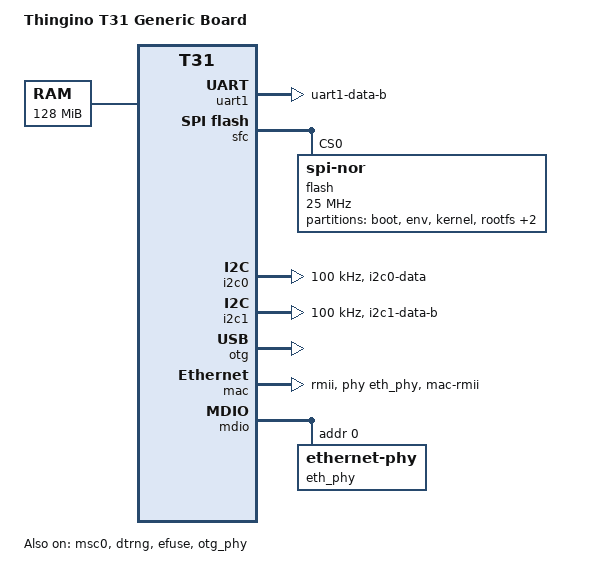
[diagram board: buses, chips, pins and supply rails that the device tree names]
// SPDX-License-Identifier: GPL-2.0
/dts-v1/;

#include "t31.dtsi"

/ {
	compatible = "thingino,t31", "ingenic,t31";
	model = "Thingino T31 Generic Board";

	aliases {
		serial1 = &uart1;
	};

	chosen {
		stdout-path = "serial1:115200n8";
	};

	memory@0 {
		device_type = "memory";
		reg = <0x0 0x8000000>;
	};
};

&exclk {
	clock-frequency = <24000000>;
};

&uart1 {
	status = "okay";

	pinctrl-names = "default";
	pinctrl-0 = <&pins_uart1>;
};

&sfc {
	status = "okay";

	flash@0 {
		compatible = "jedec,spi-nor";
		reg = <0>;
		spi-max-frequency = <25000000>;

		partitions {
			compatible = "fixed-partitions";
			#address-cells = <1>;
			#size-cells = <1>;

			partition@0 {
				label = "boot";
				reg = <0x0 0x40000>;
				read-only;
			};

			partition@40000 {
				label = "env";
				reg = <0x40000 0x10000>;
			};

			partition@50000 {
				label = "kernel";
				reg = <0x50000 0x200000>;
			};

			partition@250000 {
				label = "rootfs";
				reg = <0x250000 0x500000>;
			};

			partition@750000 {
				label = "rootfs_data";
				reg = <0x750000 0xb0000>;
			};

			partition@0_all {
				label = "all";
				reg = <0x0 0x1000000>;
			};
		};
	};
};

&msc0 {
	status = "okay";
	bus-width = <4>;
	max-frequency = <24000000>;

	pinctrl-names = "default";
	pinctrl-0 = <&pins_mmc0>;
};

&i2c0 {
	status = "okay";
	clock-frequency = <100000>;

	pinctrl-names = "default";
	pinctrl-0 = <&pins_i2c0>;
};

&i2c1 {
	status = "okay";
	clock-frequency = <100000>;

	pinctrl-names = "default";
	pinctrl-0 = <&pins_i2c1>;
};

&dtrng {
	status = "okay";
};

&efuse {
	status = "okay";
};

&otg_phy {
	status = "okay";
};

&otg {
	status = "okay";
	disable-over-current;
};

&mac {
	status = "okay";

	phy-mode = "rmii";
	phy-handle = <&eth_phy>;

	pinctrl-names = "default";
	pinctrl-0 = <&pins_mac>;
};

&mdio {
	eth_phy: ethernet-phy@0 {
		reg = <0>;
	};
};

&pinctrl {
	pins_uart1: uart1 {
		function = "uart1";
		groups = "uart1-data-b";
	};

	pins_mac: mac {
		function = "mac";
		groups = "mac-rmii";
	};

	pins_mmc0: mmc0 {
		function = "mmc0";
		groups = "mmc0-1bit", "mmc0-4bit";
	};

	pins_i2c0: i2c0 {
		function = "i2c0";
		groups = "i2c0-data";
	};

	pins_i2c1: i2c1 {
		function = "i2c1";
		groups = "i2c1-data-b";
	};
};
